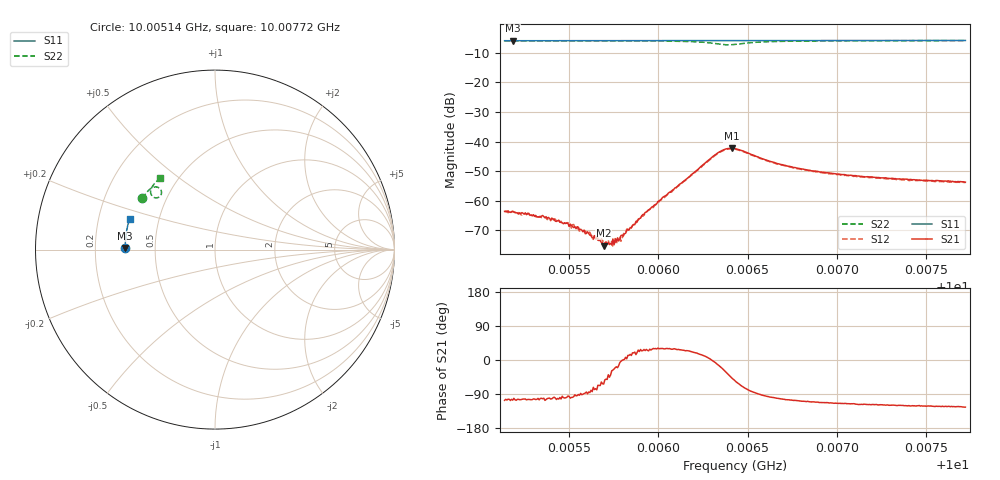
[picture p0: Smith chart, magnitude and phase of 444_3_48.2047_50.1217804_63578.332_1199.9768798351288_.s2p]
#  HZ  S  RI  R  50.00
! Rohde & Schwarz Vector Network Analyzer
! Rohde-Schwarz,ZNB20-2Port,1311601062101988,3.16
! Created: UTC 3/20/2024, 11:55:58 AM
! freq[Hz]  re:S11  im:S11  re:S21  im:S21  re:S12  im:S12  re:S22  im:S22
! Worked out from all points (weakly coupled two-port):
!   401 points, 10.00514 GHz to 10.00772 GHz, reference 50 ohm
!   highest |S21| = -42.29 dB at 10.00641 GHz (marker M1); lowest = -75.1 dB at 10.00569 GHz (marker M2)
!   lowest |S11| = -6.0 dB at 10.00518 GHz (marker M3), VSWR 3.00, Z = 16.7 + j0.404 ohm
!   |S11| at or under -10 dB: nowhere
!   |S22| runs from -7.4 to -6.0 dB; largest |S21 - S12| = 0.00049
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1.0005138e10  -0.5003 0.00616  -0.000187 -0.000638  -0.000144 -0.000634  -0.4045 0.2856
1.0005183e10  -0.5002 0.0091  -0.000183 -0.000639  -8.72e-05 -0.000659  -0.4027 0.2881
1.0005357e10  -0.5003 0.0206  -0.000103 -0.000533  -7.99e-05 -0.000535  -0.3958 0.2985
1.0005428e10  -0.5002 0.0251  -0.00011 -0.000436  -6.29e-05 -0.000453  -0.3928 0.3027
1.0005532e10  -0.5001 0.0318  -1.21e-05 -0.000368  -2.2e-05 -0.000354  -0.3882 0.309
1.0005571e10  -0.5 0.0344  -9.11e-06 -0.00032  2.04e-05 -0.000319  -0.3864 0.3112
1.0005603e10  -0.4998 0.0362  4.56e-06 -0.000301  2.42e-05 -0.000285  -0.3848 0.3132
1.0005693e10  -0.4996 0.0423  7.89e-05 -0.000158  0.000103 -0.000157  -0.3804 0.3189
1.0005726e10  -0.4994 0.0444  0.000129 -0.000131  0.000139 -0.000121  -0.3787 0.3208
1.0005738e10  -0.4994 0.0453  0.000158 -8.59e-05  0.000173 -0.000111  -0.3781 0.3216
1.0005758e10  -0.4993 0.0465  0.000217 -8.02e-05  0.000199 -7.6e-05  -0.3766 0.3227
1.000579e10  -0.4993 0.0486  0.000259 -1.48e-05  0.000208 3.52e-06  -0.3749 0.3248
1.0005919e10  -0.4987 0.0569  0.000525 0.000276  0.000506 0.000268  -0.3664 0.3332
1.0006003e10  -0.4982 0.0626  0.000867 0.000497  0.000808 0.000517  -0.3596 0.3388
1.000632e10  -0.4951 0.0827  0.00596 -0.000734  0.00588 -0.000423  -0.3011 0.3313
1.0006371e10  -0.4948 0.0858  0.00648 -0.00352  0.00649 -0.00311  -0.3003 0.3064
1.000641e10  -0.4944 0.0881  0.00526 -0.0056  0.00547 -0.00516  -0.3141 0.2913
1.0006429e10  -0.4942 0.0891  0.00435 -0.00617  0.00455 -0.00588  -0.3237 0.2884
1.0006675e10  -0.4924 0.1048  -0.000848 -0.00412  -0.000646 -0.00407  -0.3577 0.3314
1.0006862e10  -0.4899 0.1168  -0.00112 -0.00299  -0.000964 -0.003  -0.3494 0.3509
1.0007295e10  -0.4838 0.144  -0.00118 -0.00207  -0.00103 -0.00212  -0.3272 0.3785
1.0007721e10  -0.476 0.1703  -0.00117 -0.0017  -0.00105 -0.00175  -0.3055 0.3994
